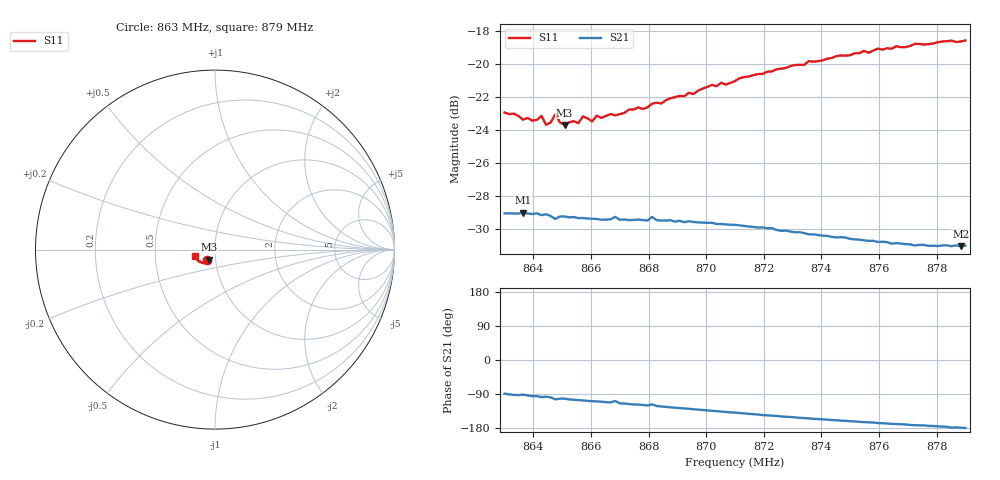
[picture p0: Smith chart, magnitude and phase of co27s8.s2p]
# HZ S RI R 50
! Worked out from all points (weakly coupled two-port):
!   101 points, 863 MHz to 879 MHz, reference 50 ohm
!   highest |S21| = -29.00 dB at 863.64 MHz (marker M1); lowest = -31.0 dB at 878.84 MHz (marker M2)
!   lowest |S11| = -23.7 dB at 865.08 MHz (marker M3), VSWR 1.14, Z = 46.4 - j5.21 ohm
!   |S11| at or under -10 dB: start of sweep to end of sweep
!   S12 and S22 are empty: the file has one direction only
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8.63e8  -0.0448 -0.0554  0.000703 -0.0353  0 0  0 0
8.6364e8  -0.0393 -0.0552  -0.000815 -0.0355  0 0  0 0
8.6412e8  -0.04 -0.0546  -0.00329 -0.0351  0 0  0 0
8.6428e8  -0.041 -0.0563  -0.00484 -0.0345  0 0  0 0
8.6444e8  -0.0353 -0.055  -0.00417 -0.0348  0 0  0 0
8.646e8  -0.0377 -0.0547  -0.00526 -0.0342  0 0  0 0
8.6476e8  -0.0415 -0.0568  -0.00813 -0.033  0 0  0 0
8.6508e8  -0.0339 -0.0558  -0.00717 -0.0338  0 0  0 0
8.6556e8  -0.0348 -0.0562  -0.00933 -0.0329  0 0  0 0
8.6572e8  -0.0362 -0.0591  -0.00983 -0.0327  0 0  0 0
8.6604e8  -0.0344 -0.0575  -0.0109 -0.0322  0 0  0 0
8.662e8  -0.0365 -0.0594  -0.0112 -0.0321  0 0  0 0
8.6684e8  -0.0316 -0.0623  -0.0107 -0.0327  0 0  0 0
8.6796e8  -0.0349 -0.0651  -0.0168 -0.029  0 0  0 0
8.6812e8  -0.0351 -0.0671  -0.0156 -0.0307  0 0  0 0
8.6844e8  -0.0361 -0.0667  -0.0181 -0.0283  0 0  0 0
8.702e8  -0.0457 -0.0733  -0.023 -0.0238  0 0  0 0
8.71e8  -0.0484 -0.0743  -0.0246 -0.0214  0 0  0 0
8.7372e8  -0.0691 -0.0743  -0.0277 -0.0128  0 0  0 0
8.7644e8  -0.0932 -0.0605  -0.028 -0.00571  0 0  0 0
8.7884e8  -0.1101 -0.0389  -0.0281 -0.000545  0 0  0 0
8.79e8  -0.112 -0.0361  -0.0282 -0.000341  0 0  0 0
